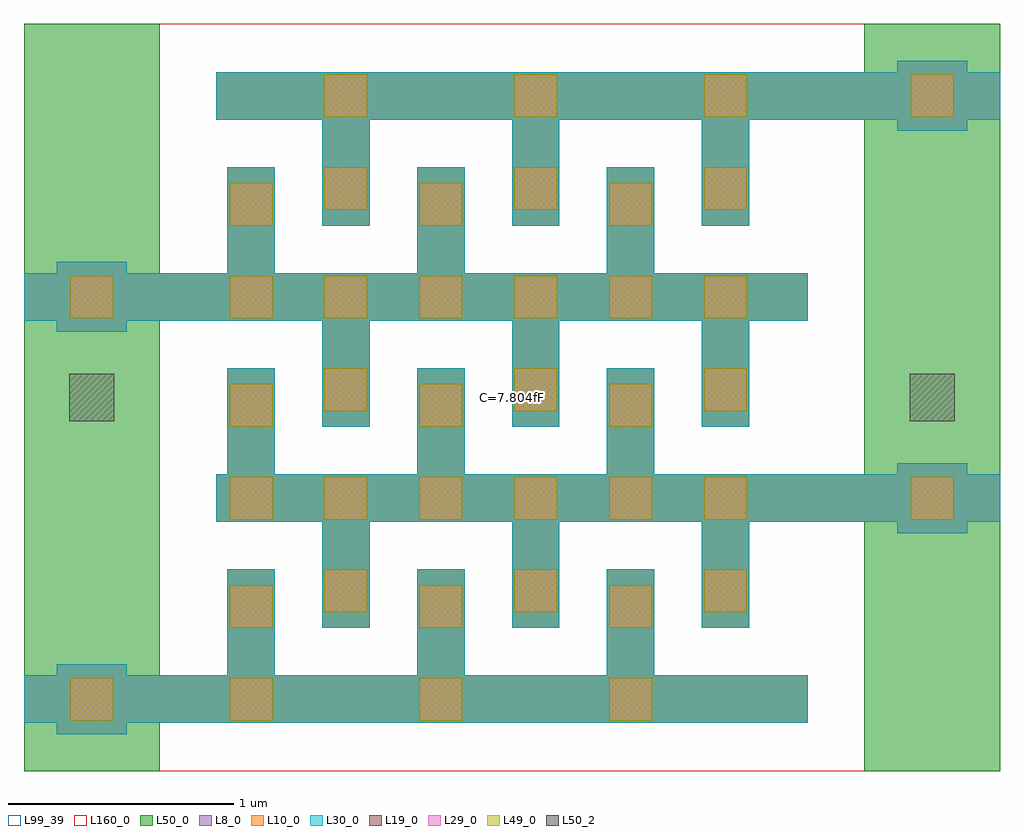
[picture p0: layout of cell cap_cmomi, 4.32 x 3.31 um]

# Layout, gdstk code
import gdstk
lib = gdstk.Library(unit=1e-6, precision=1e-09)
def R(c, l, rs):  # rectangles x0, y0, x1, y1
    for r in rs: c.add(gdstk.rectangle(r[:2], r[2:], *l))
def A(c, l, x, y, w, h, nx, ny, dx, dy):  # array of equal rectangles
    R(c, l, [(x+i*dx, y+j*dy, x+i*dx+w, y+j*dy+h) for i in range(nx) for j in range(ny)])
L8_0 = (8, 0)
L10_0 = (10, 0)
L19_0 = (19, 0)
L29_0 = (29, 0)
L30_0 = (30, 0)
L49_0 = (49, 0)
L50_0 = (50, 0)
L50_2 = (50, 2)
L99_39 = (99, 39)
L160_0 = (160, 0)

cap_cmomi = lib.new_cell('cap_cmomi')
A(cap_cmomi, L8_0, -1.26, -1.335, 0.21, 0.575, 3, 3, 0.84, 0.89)
A(cap_cmomi, L8_0, -0.84, -1.02, 0.21, 0.575, 3, 3, 0.84, 0.89)
R(cap_cmomi, L8_0, [(-2.015,-1.49,-1.705,-1.18), (-2.16,-1.44,1.31,-1.23), (1.705,-0.6,2.015,-0.29), (-1.31,-0.55,2.16,-0.34), (-2.015,0.29,-1.705,0.6), (-2.16,0.34,1.31,0.55), (1.705,1.18,2.015,1.49), (-1.31,1.23,2.16,1.44)])
A(cap_cmomi, L10_0, -1.26, -1.335, 0.21, 0.575, 3, 3, 0.84, 0.89)
A(cap_cmomi, L10_0, -0.84, -1.02, 0.21, 0.575, 3, 3, 0.84, 0.89)
R(cap_cmomi, L10_0, [(-2.015,-1.49,-1.705,-1.18), (-2.16,-1.44,1.31,-1.23), (1.705,-0.6,2.015,-0.29), (-1.31,-0.55,2.16,-0.34), (-2.015,0.29,-1.705,0.6), (-2.16,0.34,1.31,0.55), (1.705,1.18,2.015,1.49), (-1.31,1.23,2.16,1.44)])
A(cap_cmomi, L19_0, -1.25, -1.43, 0.19, 0.19, 3, 2, 0.84, 0.41)
A(cap_cmomi, L19_0, -0.83, -0.95, 0.19, 0.19, 3, 3, 0.84, 0.89)
A(cap_cmomi, L19_0, -1.25, -0.54, 0.19, 0.19, 6, 2, 0.42, 0.89)
A(cap_cmomi, L19_0, -1.25, -0.13, 0.19, 0.19, 3, 2, 0.84, 0.89)
A(cap_cmomi, L19_0, -0.83, 1.24, 0.19, 0.19, 3, 1, 0.84, 0)
R(cap_cmomi, L19_0, [(-1.955,-1.43,-1.765,-1.24), (1.765,-0.54,1.955,-0.35), (-1.955,0.35,-1.765,0.54), (1.765,1.24,1.955,1.43)])
A(cap_cmomi, L29_0, -1.25, -1.43, 0.19, 0.19, 3, 2, 0.84, 0.41)
A(cap_cmomi, L29_0, -0.83, -0.95, 0.19, 0.19, 3, 3, 0.84, 0.89)
A(cap_cmomi, L29_0, -1.25, -0.54, 0.19, 0.19, 6, 2, 0.42, 0.89)
A(cap_cmomi, L29_0, -1.25, -0.13, 0.19, 0.19, 3, 2, 0.84, 0.89)
A(cap_cmomi, L29_0, -0.83, 1.24, 0.19, 0.19, 3, 1, 0.84, 0)
R(cap_cmomi, L29_0, [(-1.955,-1.43,-1.765,-1.24), (1.765,-0.54,1.955,-0.35), (-1.955,0.35,-1.765,0.54), (1.765,1.24,1.955,1.43)])
A(cap_cmomi, L30_0, -1.26, -1.335, 0.21, 0.575, 3, 3, 0.84, 0.89)
A(cap_cmomi, L30_0, -0.84, -1.02, 0.21, 0.575, 3, 3, 0.84, 0.89)
R(cap_cmomi, L30_0, [(-2.015,-1.49,-1.705,-1.18), (-2.16,-1.44,1.31,-1.23), (1.705,-0.6,2.015,-0.29), (-1.31,-0.55,2.16,-0.34), (-2.015,0.29,-1.705,0.6), (-2.16,0.34,1.31,0.55), (1.705,1.18,2.015,1.49), (-1.31,1.23,2.16,1.44)])
A(cap_cmomi, L49_0, -1.25, -1.43, 0.19, 0.19, 3, 2, 0.84, 0.41)
A(cap_cmomi, L49_0, -0.83, -0.95, 0.19, 0.19, 3, 3, 0.84, 0.89)
A(cap_cmomi, L49_0, -1.25, -0.54, 0.19, 0.19, 6, 2, 0.42, 0.89)
A(cap_cmomi, L49_0, -1.25, -0.13, 0.19, 0.19, 3, 2, 0.84, 0.89)
A(cap_cmomi, L49_0, -0.83, 1.24, 0.19, 0.19, 3, 1, 0.84, 0)
R(cap_cmomi, L49_0, [(-1.955,-1.43,-1.765,-1.24), (1.765,-0.54,1.955,-0.35), (-1.955,0.35,-1.765,0.54), (1.765,1.24,1.955,1.43)])
A(cap_cmomi, L50_0, -1.26, -1.335, 0.21, 0.575, 3, 3, 0.84, 0.89)
A(cap_cmomi, L50_0, -0.84, -1.02, 0.21, 0.575, 3, 3, 0.84, 0.89)
R(cap_cmomi, L50_0, [(-2.16,-1.655,-1.56,1.655), (1.56,-1.655,2.16,1.655), (-2.16,-1.44,1.31,-1.23), (-1.31,-0.55,2.16,-0.34), (-2.16,0.34,1.31,0.55), (-1.31,1.23,2.16,1.44)])
R(cap_cmomi, L50_2, [(-1.96,-0.105,-1.76,0.105), (1.76,-0.105,1.96,0.105)])
R(cap_cmomi, L99_39, [(-2.16,-1.655,2.16,1.655)])
R(cap_cmomi, L160_0, [(-2.16,-1.655,2.16,1.655)])
cap_cmomi.add(gdstk.Label('C=7.804fF', (0,0), layer=63, texttype=0))
cap_cmomi.add(gdstk.Label('cap_cmomi', (0,0), layer=63, texttype=0))

lib.write_gds('cap_cmomi.gds')
